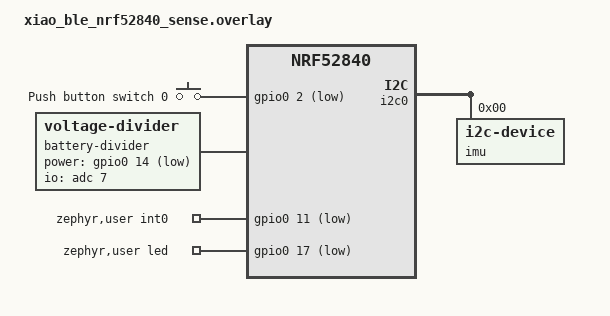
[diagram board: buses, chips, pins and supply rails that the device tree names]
&pwm0_default {
	group1 {
		psels = <NRF_PSEL(PWM_OUT0, 0, 26)>,
			<NRF_PSEL(PWM_OUT1, 0, 30)>,
			<NRF_PSEL(PWM_OUT2, 0, 6)>;
		nordic,drive-mode = <NRF_DRIVE_D0S1>;
		nordic,invert;
	};
};

&pwm0_sleep {
	group1 {
		psels = <NRF_PSEL(PWM_OUT0, 0, 26)>,
			<NRF_PSEL(PWM_OUT1, 0, 30)>,
			<NRF_PSEL(PWM_OUT2, 0, 6)>;
	};
};

/ {
	pwmleds {
		pwm_led0: pwm_led_0 {
			pwms = <&pwm0 0 PWM_MSEC(1) PWM_POLARITY_INVERTED>;
		};
		pwm_led1: pwm_led_1 {
			pwms = <&pwm0 1 PWM_MSEC(1) PWM_POLARITY_INVERTED>;
		};
		pwm_led2: pwm_led_2 {
			pwms = <&pwm0 2 PWM_MSEC(1) PWM_POLARITY_INVERTED>;
		};
	};

	lsm6ds3tr-c-en {
		startup-delay-us = <0>;
	};

	buttons {
		compatible = "gpio-keys";
		button0: button_0 {
			gpios = <&gpio0 2 (GPIO_PULL_UP | GPIO_ACTIVE_LOW)>;
			label = "Push button switch 0";
		};
	};

	aliases {
		// sw0 = &button0; // Uncomment to Enable SW0
		pwm-led1 = &pwm_led1;
		pwm-led2 = &pwm_led2;
	};

	battery-divider {
        compatible = "voltage-divider";
        status = "okay";
        io-channels = <&adc 7>;
        output-ohms = <510000>;
        full-ohms = <(1000000+510000)>;
        power-gpios = <&gpio0 14 (GPIO_OPEN_DRAIN|GPIO_ACTIVE_LOW)>;
	};

	zephyr,user {
		int0-gpios = <&gpio0 11 (GPIO_ACTIVE_LOW | GPIO_PULL_UP)>;
		led-gpios = <&gpio0 17 (GPIO_OPEN_DRAIN|GPIO_ACTIVE_LOW)>;
	};

};

&i2c0 {
	zephyr,concat-buf-size = <255>; // probable max for nrf52832
	zephyr,flash-buf-max-size = <255>; // probable max for nrf52832

	imu: imu@0 { // any address out of range (00, 7f, etc. will search all addresses and stored address first if available, specify an address here to search first otherwise
		compatible = "i2c-device";
		label = "imu";
		reg = <0>;
	};

};

&cryptocell {
	status = "disabled";
};

&nfct {
	status = "disabled";
};
